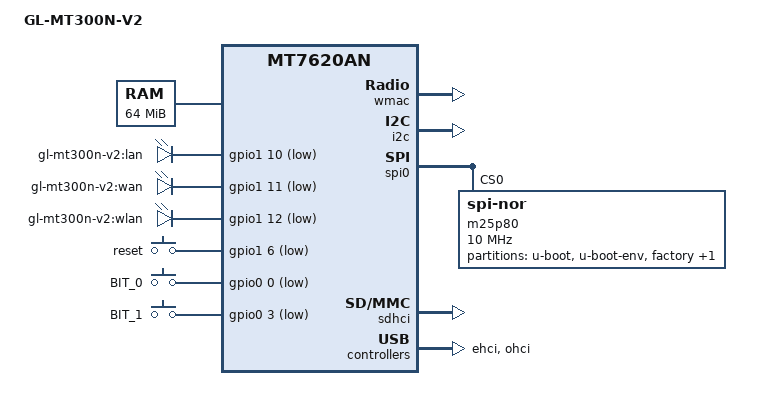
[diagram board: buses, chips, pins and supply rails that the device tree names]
/dts-v1/;

#include "mt7628an.dtsi"

#include <dt-bindings/gpio/gpio.h>
#include <dt-bindings/input/input.h>

/{
	compatible = "GL-MT300N-V2", "ralink,mt7620an-soc";
	model = "GL-MT300N-V2";

	chosen {
		bootargs = "console=ttyS0,115200";
	};

	memory@0 {
		device_type = "memory";
		reg = <0x0 0x4000000>;
	};

	gpio-leds {
		compatible = "gpio-leds";

		lan {
			label = "gl-mt300n-v2:lan";
			gpios = <&gpio1 10 1>;
		};

		wan {
			label = "gl-mt300n-v2:wan";
			gpios = <&gpio1 11 1>;
		};

		wlan {
			label = "gl-mt300n-v2:wlan";
			gpios = <&gpio1 12 1>;
		};
	};

	gpio-keys {
		compatible = "gpio-keys-polled";
		#address-cells = <1>;
		#size-cells = <0>;
		poll-interval = <20>;

		reset {
			label = "reset";
			gpios = <&gpio1 6 GPIO_ACTIVE_LOW>;
			linux,code = <KEY_RESTART>;
		};

		BIT_0 {
			label = "BIT_0";
			gpios = <&gpio0 0 1>;
			linux,code = <0x100>;
		};

		BIT_1 {
			label = "BIT_1";
			gpios = <&gpio0 3 1>;
			linux,code = <0x101>;
		};
	};

};

&pinctrl {
	state_default: pinctrl0 {
		gpio {
			ralink,group = "refclk", "gpio", "wled_an", "p0led_an", "p1led_an", "i2c", "i2s";
			ralink,function = "gpio";
		};
	};
};

&ethernet {
	mtd-mac-address = <&factory 0x04000>;
};

&wmac {
	status = "okay";
	ralink,mtd-eeprom = <&factory 0x04000>;
};

&i2c {
	status = "okay";
};

&spi0 {
	status = "okay";

	m25p80@0 {
		#address-cells = <1>;
		#size-cells = <1>;
		compatible = "jedec,spi-nor";
		reg = <0>;
		spi-max-frequency = <10000000>;
		m25p,chunked-io = <32>;

		partition@0 {
			label = "u-boot";
			reg = <0x0 0x30000>;
			read-only;
		};

		partition@30000 {
			label = "u-boot-env";
			reg = <0x30000 0x10000>;
			read-only;
		};

		factory: partition@40000 {
			label = "factory";
			reg = <0x40000 0x10000>;
			read-only;
		};

		partition@50000 {
			label = "firmware";
			reg = <0x50000 0xff0000>;
		};
	};
};

&sdhci {
	status = "okay";
};

&ehci {
	status = "okay";
};

&ohci {
	status = "okay";
};
